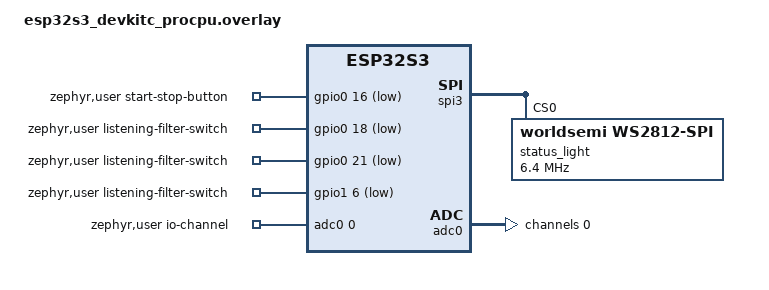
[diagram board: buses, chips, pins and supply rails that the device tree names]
/*
 * ESP32-S3-DevKitC-1 with the N16R8 module: 16 MB flash, 8 MB octal PSRAM.
 * GPIO33..37 are reserved for the octal PSRAM and must not be assigned.
 * Add application peripherals when their adapters are implemented.
 */

/* The board default describes the WROOM-N8 module and its 4 MB table; match the fitted N16R8. */
#include "flash-layout.dtsi"

#include <zephyr/dt-bindings/adc/adc.h>
#include <zephyr/dt-bindings/led/led.h>

&psram0 
{ 
    status = "okay"; 
    size = <DT_SIZE_M(8)>; 
};

/*
 * RGB status light: the WS2812 on GPIO48 (DevKitC-1 v1.0), driven through the SPI3 data
 * line. Both I2S controllers belong to audio, so the I2S variant of the driver is not free.
 * The board default also routes SPI3 clock, MISO and chip select to GPIO21, GPIO40 and
 * GPIO14; GPIO40 and GPIO21 belong to the DAC and the filter switch, so only the data line
 * stays. The carrier's SD card chip select on GPIO48 is not used.
 */
&spim3_default
{
    /delete-node/ group1;

    group2
    {
        pinmux = <SPIM3_MOSI_GPIO48>;
    };
};

&spi3
{
    /* The WS2812 reads a high idle level as data. */
    line-idle-low;

    status_light: ws2812@0
    {
        compatible = "worldsemi,ws2812-spi";
        reg = <0>;
        spi-max-frequency = <6400000>;
        chain-length = <1>;
        spi-cpha;
        /* Each SPI byte is one WS2812 bit: 625 ns high for one, 312.5 ns high for zero. */
        spi-one-frame = <0xf0>;
        spi-zero-frame = <0xc0>;
        color-mapping = <LED_COLOR_ID_GREEN LED_COLOR_ID_RED LED_COLOR_ID_BLUE>;
    };
};

/* The board default routes SPI2 to GPIO10 to GPIO13; nothing uses it. */
&spi2
{
    status = "disabled";
};

/*
 * Volume potentiometer J7 wiper on GPIO1, ADC1 channel 0, through R13 1k with C8 100 nF.
 * Gain 1/4 and 12 bits as in the carrier peripheral test, whose sweep read up to 3083 mV.
 */
&adc0
{
    status = "okay";
    #address-cells = <1>;
    #size-cells = <0>;

    channel@0
    {
        reg = <0>;
        zephyr,gain = "ADC_GAIN_1_4";
        zephyr,reference = "ADC_REF_INTERNAL";
        zephyr,acquisition-time = <ADC_ACQ_TIME_DEFAULT>;
        zephyr,resolution = <12>;
    };
};

/ {
    zephyr,user
    {
        /* Illuminated Start/Stop button J6: closes to ground; the carrier also has a pull-up. */
        start-stop-button-gpios = <&gpio0 16 (GPIO_PULL_UP | GPIO_ACTIVE_LOW)>;

        /*
         * Raw/Murmur/BPM switch J8 on GPIO18, GPIO21 and GPIO38 (gpio1 pin 6), in this order;
         * carrier pull-ups R14 to R16. The fitted switch has its common on the GPIO18 pad,
         * so the driver reads Murmur and BPM by driving GPIO18 low.
         */
        listening-filter-switch-gpios = <&gpio0 18 (GPIO_PULL_UP | GPIO_ACTIVE_LOW)>,
                                        <&gpio0 21 (GPIO_PULL_UP | GPIO_ACTIVE_LOW)>,
                                        <&gpio1 6 (GPIO_PULL_UP | GPIO_ACTIVE_LOW)>;

        io-channels = <&adc0 0>;
    };
};
